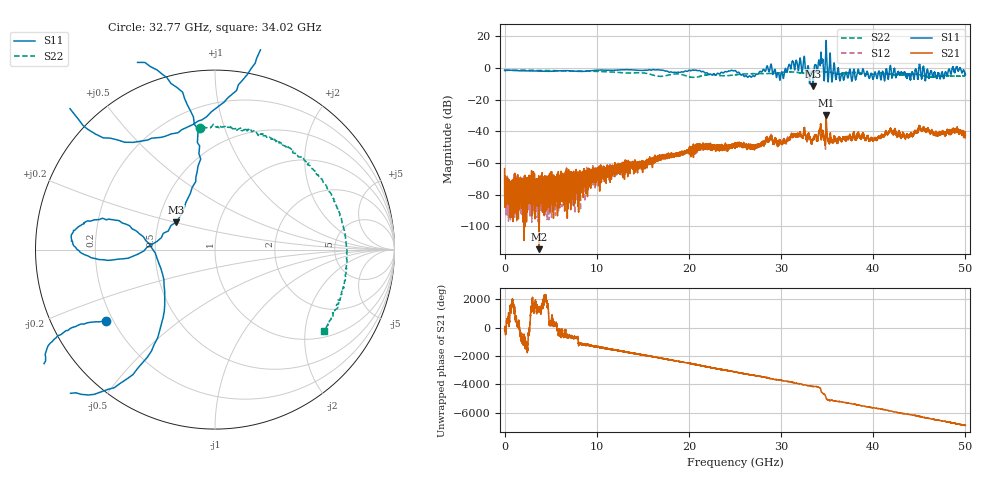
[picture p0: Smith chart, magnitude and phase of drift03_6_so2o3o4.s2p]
!Created with skrf (http://scikit-rf.org).
# Hz S RI R 50.0
!freq ReS11 ImS11 ReS21 ImS21 ReS12 ImS12 ReS22 ImS22
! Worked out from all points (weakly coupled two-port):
!   10001 points, 300 kHz to 50 GHz, reference 50 ohm
!   highest |S21| = -29.95 dB at 34.9 GHz (marker M1); lowest = -114.4 dB at 3.735 GHz (marker M2)
!   lowest |S11| = -11.5 dB at 33.47 GHz (marker M3), VSWR 1.72, Z = 30.9 + j10.1 ohm
!   |S11| at or under -10 dB: 33.44257 GHz to 33.48771 GHz (45.15 MHz wide, 0.135 % of centre)
!   |S22| runs from -6.0 to -1.3 dB; largest |S21 - S12| = 0.0076
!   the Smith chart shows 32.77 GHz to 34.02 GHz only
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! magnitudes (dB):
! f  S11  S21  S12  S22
! 300 kHz  -1.3  -63.6  -69.7  -2.1
! 255.3 MHz  -1.3  -72.5  -83.6  -1.4
! 740.3 MHz  -1.4  -73.3  -74.9  -1.5
! 3.735 GHz  -2.0  -114.4  -69.8  -1.6
! 8.335 GHz  -2.2  -68.3  -69.4  -1.9
! 16.67 GHz  -1.1  -55.5  -55.2  -5.2
! 25 GHz  -1.5  -50.0  -49.3  -4.3
! 26.92 GHz  -4.9  -51.1  -48.7  -3.6
! 28.73 GHz  -2.3  -44.9  -45.2  -3.5
! 30.06 GHz  -2.5  -47.0  -47.4  -2.9
! 31.87 GHz  -1.6  -42.3  -41.9  -2.9
! 33.34 GHz  -2.2  -47.6  -47.7  -2.9
! 33.47 GHz  -11.5  -45.1  -44.7  -2.8
! 34.3 GHz  6.8  -36.0  -35.3  -2.3
! 34.9 GHz  17.4  -29.9  -31.3  -2.4
! 36.59 GHz  -3.7  -45.0  -45.7  -3.6
! 40.2 GHz  -2.4  -44.6  -44.1  -3.7
! 41.67 GHz  -6.0  -40.8  -40.7  -3.6
! 45.22 GHz  -5.6  -38.6  -39.5  -4.6
! 47.07 GHz  -3.3  -40.9  -41.0  -5.1
! 49.21 GHz  -1.7  -40.1  -39.3  -5.2
! 50 GHz  -4.4  -42.7  -41.3  -5.0
